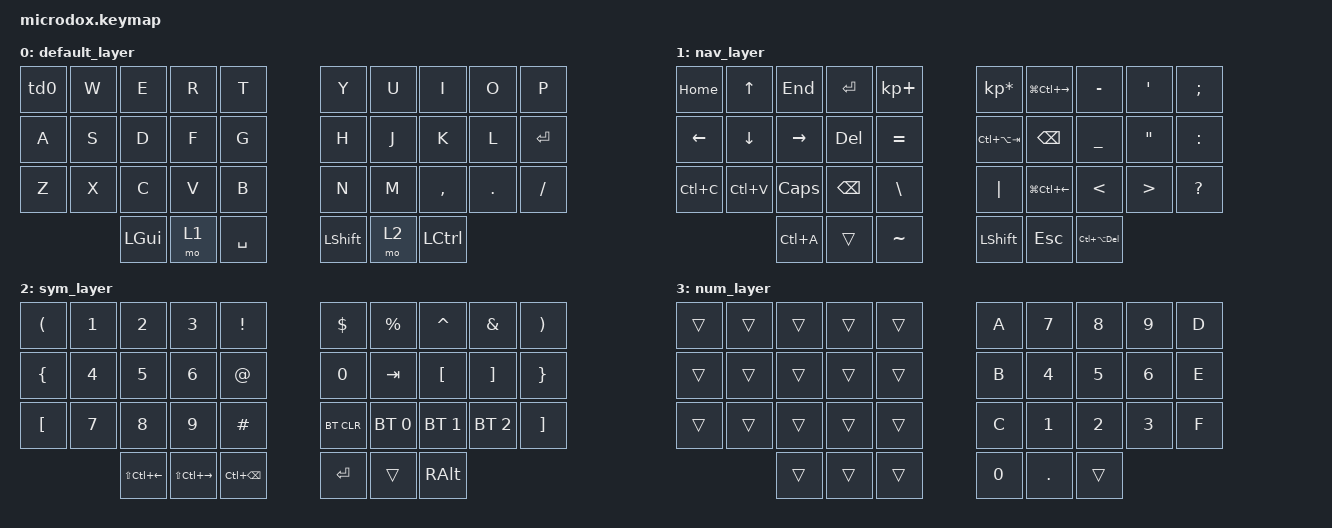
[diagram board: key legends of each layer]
/*
 * Copyright (c) 2020 The ZMK Contributors
 *
 * SPDX-License-Identifier: MIT
 */

#include <behaviors.dtsi>
#include <dt-bindings/zmk/keys.h>
#include <dt-bindings/zmk/bt.h>

#include <behaviors.dtsi>
#include <dt-bindings/zmk/keys.h>

/ {
    behaviors {
        td0: tap_dance_0 {
            compatible = "zmk,behavior-tap-dance";
            label = "TAP_DANCE_0";
            #binding-cells = <0>;
            tapping-term-ms = <200>;
            bindings = <&kp Q>, <&kp LPAR>, <&kp ESC>;
        };
    };

/ {
        keymap {
                compatible = "zmk,keymap";

                default_layer {
// -----------------------------------------------------------------------------------------
// |  Q  |  W  |  E  |  R  |  T   |   |  Y  |  U   |  I  |  O  |  P  |
// |  A  |  S  |  D  |  F  |  G   |   |  H  |  J   |  K  |  L  |  ;  |
// |  Z  |  X  |  C  |  V  |  B   |   |  N  |  M   |  ,  |  .  |  /  |
//             | GUI | NAV | SHFT |   | SPC | SYM  | ALT |
                        bindings = <
   &td0 &kp W &kp E &kp R &kp T   &kp Y &kp U  &kp I     &kp O   &kp P
   &kp A &kp S &kp D &kp F &kp G   &kp H &kp J  &kp K     &kp L   &kp RET
   &kp Z &kp X &kp C &kp V &kp B   &kp N &kp M  &kp COMMA &kp DOT &kp FSLH
          &kp LGUI &mo 1 &kp SPACE &kp LSHIFT &mo 2 &kp LCTRL
                        >;
                };
                nav_layer {
// -----------------------------------------------------------------------------------------
// |BTCLR|     | ESC |  ~   |     |   | TAB | HOME |  UP  | END | DEL  |
// | BT1 | GUI | ALT | CTRL | NUM |   |  /  | LEFT | DOWN | RGT | BKSP |
// | BT2 |     |     |      |     |   |  \  | ENT  |      |     |      |
//             |     |      |     |   |     |      |      |
                        bindings = <
   &kp HOME   &kp UP     &kp END        &kp RET     &kp KP_PLUS         &kp KP_MULTIPLY    &kp LG(LC(RIGHT))    &kp MINUS      &kp SQT     &kp SEMI
   &kp LEFT   &kp DOWN   &kp RIGHT      &kp DEL     &kp EQUAL           &kp LC(LA(TAB))    &kp BSPC             &kp UNDER      &kp DQT     &kp COLON
   &kp LC(C)  &kp LC(V)  &kp CAPSLOCK   &kp BSPC    &kp BSLH            &kp PIPE             &kp LG(LC(LEFT))     &kp LT         &kp GT      &kp QMARK
                            &kp LC(A)    &trans     &kp TILDE          &kp LSHIFT  &kp ESC   &kp LC(LA(DEL))
                        >;
                };

                sym_layer {
// -----------------------------------------------------------------------------------------
// |  !  |  @  |  #  |  $  |  %  |   |  ^  |  &  |  *  |  (  |  )  |
// |     |     |     |     |     |   |  -  |  =  |  {  |  }  | "|" |
// |     |     |     |     |     |   |  _  |  +  |  [  |  ]  |  \  |
//             | GUI |     | SPC |   | ENT |     | ALT |
                        bindings = <
   &kp LPAR    &kp N1    &kp N2  &kp N3    &kp EXCL        &kp DOLLAR &kp PRCNT  &kp CARET &kp AMPS &kp RPAR
   &kp LBRC    &kp N4    &kp N5  &kp N6    &kp AT          &kp N0 &kp TAB &kp LBKT        &kp RBKT &kp RBRC
   &kp LBKT    &kp N7    &kp N8  &kp N9    &kp HASH        &bt BT_CLR &bt BT_SEL 0     &bt BT_SEL 1      &bt BT_SEL 2   &kp RBKT
                       &kp LS(LC(LEFT))  &kp LS(LC(RIGHT)) &kp LC(BSPC)   &kp RET   &trans    &kp RALT
                        >;
                };

// This layer is unreachable until "tri layer state" is sorted out.
// Leaving it here for completeness.
                num_layer {
// -----------------------------------------------------------------------------------------
// |     |     |     |     |     |   |  A  |  7  |  8  |  9  |  D  |
// |     |     |     |     |     |   |  B  |  4  |  5  |  6  |  E  |
// |     |     |     |     |     |   |  C  |  1  |  2  |  3  |  F  |
//             |     |     |     |   |  0  |  .  |     |
                        bindings = <
   &trans &trans &trans &trans &trans    &kp A  &kp N7  &kp N8 &kp N9 &kp D
   &trans &trans &trans &trans &trans    &kp B  &kp N4  &kp N5 &kp N6 &kp E
   &trans &trans &trans &trans &trans    &kp C  &kp N1  &kp N2 &kp N3 &kp F
                 &trans &trans &trans    &kp N0 &kp DOT &trans
                        >;
                };
        };
};
};
